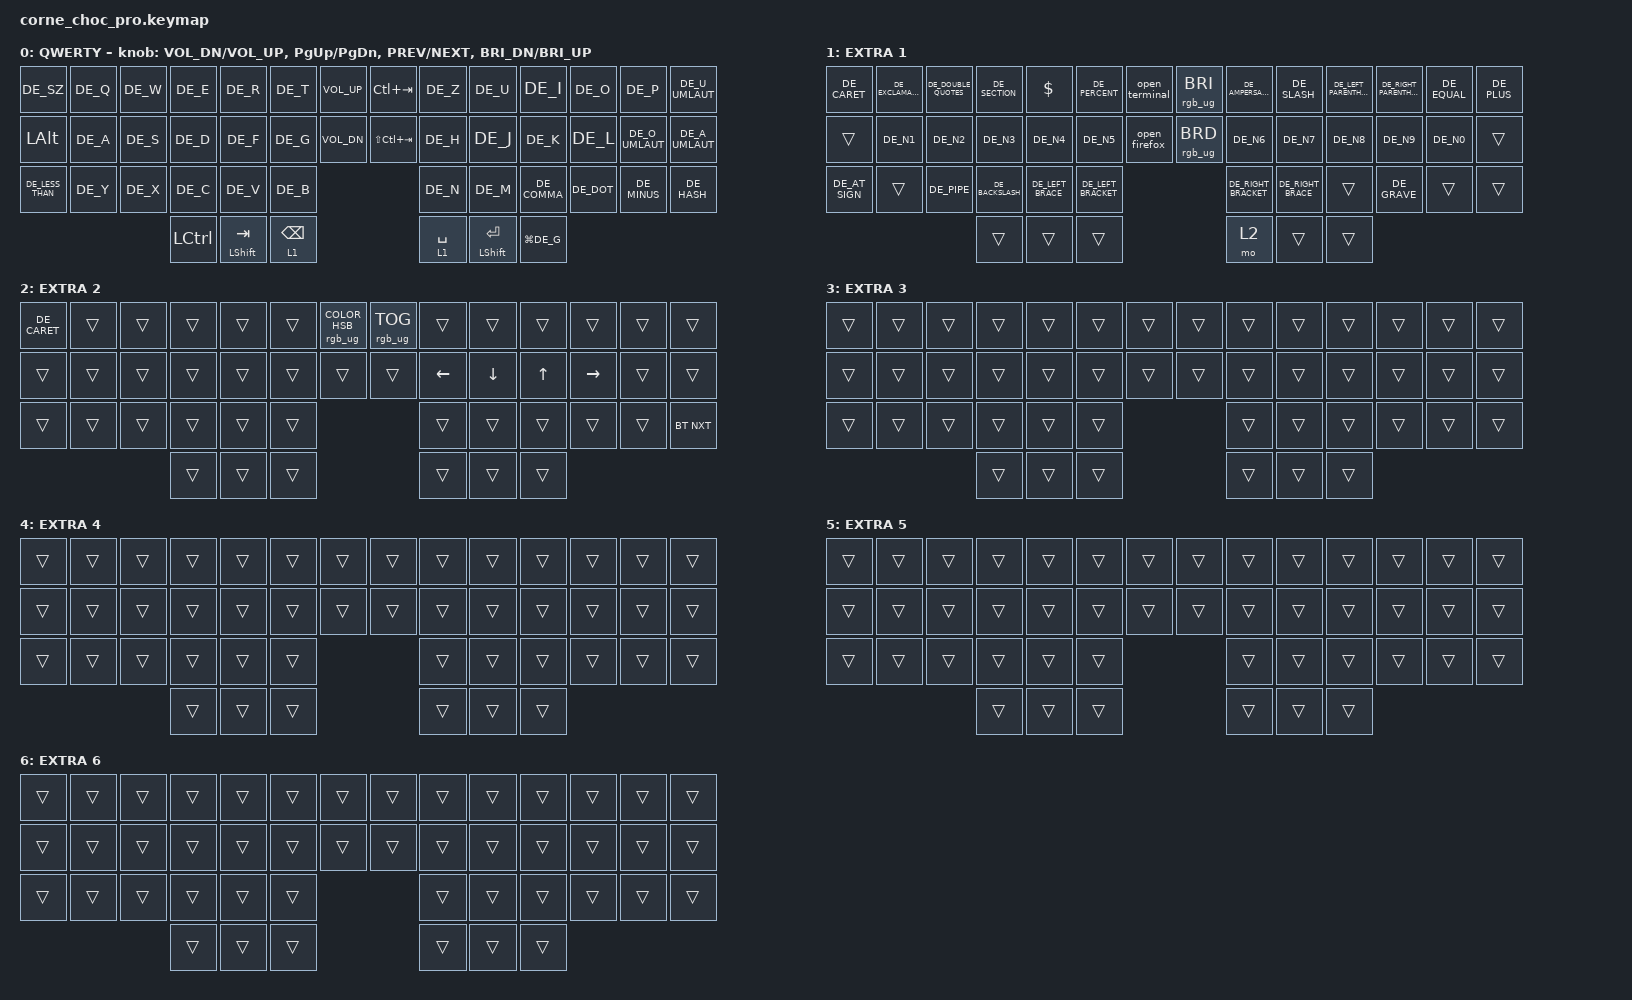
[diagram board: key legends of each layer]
/*
 * Copyright (c) 2020 The ZMK Contributors
 *
 * SPDX-License-Identifier: MIT
 */

#include <behaviors.dtsi>
#include <dt-bindings/zmk/bt.h>
#include <dt-bindings/zmk/keys.h>
#include <dt-bindings/zmk/rgb.h>
#include "keys_de.h"

/ {
    chosen { zmk,physical-layout = &default_layout; };
};

&lt { quick-tap-ms = <300>; };

/ {
    macros {
        open_terminal: open_terminal {
            compatible = "zmk,behavior-macro";
            #binding-cells = <0>;
            bindings = <&kp LA(SPACE) &kp G &kp H &kp O &kp S &kp T &kp T &kp Y &kp RET>;
            label = "OPEN_TERMINAL";
        };

        open_firefox: open_firefox {
            compatible = "zmk,behavior-macro";
            #binding-cells = <0>;
            bindings = <&kp LA(SPACE) &kp F &kp I &kp R &kp E &kp F &kp O &kp X &kp RET>;
            label = "OPEN_FIREFOX";
        };
    };

    keymap {
        compatible = "zmk,keymap";

        default_layer {
            display-name = "QWERTY";

            // --------------------------------------------------------------------------------
            // |  TAB |  Q  |  W  |  E  |  R  |  T  |  MUTE |  PP   |  Y  |  U   |  I  |  O  |  P  | BSPC |
            // | CTRL |  A  |  S  |  D  |  F  |  G  |  LALT |  RALT |  H  |  J   |  K  |  L  |  ;  |  '   |
            // | SHFT |  Z  |  X  |  C  |  V  |  B  |               |  N  |  M   |  ,  |  .  |  /  | ESC  |
            //                    | GUI | LWR | SPC |               | ENT | RSE  | ALT |

            bindings = <
&kp DE_SZ         &kp DE_Q  &kp DE_W  &kp DE_E          &kp DE_R            &kp DE_T         &kp C_VOLUME_UP  &kp LC(TAB)      &kp DE_Z     &kp DE_U              &kp DE_I      &kp DE_O    &kp DE_P         &kp DE_U_UMLAUT
&kp LEFT_ALT      &kp DE_A  &kp DE_S  &kp DE_D          &kp DE_F            &kp DE_G         &kp C_VOL_DN     &kp LS(LC(TAB))  &kp DE_H     &kp DE_J              &kp DE_K      &kp DE_L    &kp DE_O_UMLAUT  &kp DE_A_UMLAUT
&kp DE_LESS_THAN  &kp DE_Y  &kp DE_X  &kp DE_C          &kp DE_V            &kp DE_B                                           &kp DE_N     &kp DE_M              &kp DE_COMMA  &kp DE_DOT  &kp DE_MINUS     &kp DE_HASH
                                      &kp LEFT_CONTROL  &mt LEFT_SHIFT TAB  &lt 1 BACKSPACE                                    &lt 1 SPACE  &mt LEFT_SHIFT ENTER  &kp LG(DE_G)
            >;

            sensor-bindings = <&inc_dec_kp C_VOL_DN C_VOL_UP &inc_dec_kp PG_UP PG_DN &inc_dec_kp C_PREV C_NEXT &inc_dec_kp C_BRI_DN C_BRI_UP>;
        };

        extra_layer_1 {
            display-name = "EXTRA 1";
            bindings = <
&kp DE_CARET    &kp DE_EXCLAMATION  &kp DE_DOUBLE_QUOTES  &kp DE_SECTION    &kp DOLLAR         &kp DE_PERCENT       &open_terminal  &rgb_ug RGB_BRI  &kp DE_AMPERSAND      &kp DE_SLASH        &kp DE_LEFT_PARENTHESIS  &kp DE_RIGHT_PARENTHESIS  &kp DE_EQUAL  &kp DE_PLUS
&trans          &kp DE_N1           &kp DE_N2             &kp DE_N3         &kp DE_N4          &kp DE_N5            &open_firefox   &rgb_ug RGB_BRD  &kp DE_N6             &kp DE_N7           &kp DE_N8                &kp DE_N9                 &kp DE_N0     &trans
&kp DE_AT_SIGN  &trans              &kp DE_PIPE           &kp DE_BACKSLASH  &kp DE_LEFT_BRACE  &kp DE_LEFT_BRACKET                                   &kp DE_RIGHT_BRACKET  &kp DE_RIGHT_BRACE  &trans                   &kp DE_GRAVE              &trans        &trans
                                                          &trans            &trans             &trans                                             &mo 2                 &trans              &trans
            >;
        };

        extra_layer_2 {
            display-name = "EXTRA 2";
            bindings = <
&kp DE_CARET  &trans  &trans  &trans  &trans  &trans  &rgb_ug RGB_COLOR_HSB(242,100,57)  &rgb_ug RGB_TOG  &trans    &trans    &trans  &trans     &trans  &trans
&trans        &trans  &trans  &trans  &trans  &trans  &trans                             &trans           &kp LEFT  &kp DOWN  &kp UP  &kp RIGHT  &trans  &trans
&trans        &trans  &trans  &trans  &trans  &trans                                                      &trans    &trans    &trans  &trans     &trans  &bt BT_NXT
                              &trans  &trans  &trans                                                      &trans    &trans    &trans
            >;
        };

        extra_layer_3 {
            display-name = "EXTRA 3";
            bindings = <
&trans  &trans  &trans  &trans  &trans  &trans  &trans  &trans  &trans  &trans  &trans  &trans  &trans  &trans
&trans  &trans  &trans  &trans  &trans  &trans  &trans  &trans  &trans  &trans  &trans  &trans  &trans  &trans
&trans  &trans  &trans  &trans  &trans  &trans                  &trans  &trans  &trans  &trans  &trans  &trans
                        &trans  &trans  &trans                  &trans  &trans  &trans
            >;
        };

        extra_layer_4 {
            display-name = "EXTRA 4";
            bindings = <
&trans  &trans  &trans  &trans  &trans  &trans  &trans  &trans  &trans  &trans  &trans  &trans  &trans  &trans
&trans  &trans  &trans  &trans  &trans  &trans  &trans  &trans  &trans  &trans  &trans  &trans  &trans  &trans
&trans  &trans  &trans  &trans  &trans  &trans                  &trans  &trans  &trans  &trans  &trans  &trans
                        &trans  &trans  &trans                  &trans  &trans  &trans
            >;
        };

        extra_layer_5 {
            display-name = "EXTRA 5";
            bindings = <
&trans  &trans  &trans  &trans  &trans  &trans  &trans  &trans  &trans  &trans  &trans  &trans  &trans  &trans
&trans  &trans  &trans  &trans  &trans  &trans  &trans  &trans  &trans  &trans  &trans  &trans  &trans  &trans
&trans  &trans  &trans  &trans  &trans  &trans                  &trans  &trans  &trans  &trans  &trans  &trans
                        &trans  &trans  &trans                  &trans  &trans  &trans
            >;
        };

        extra_layer_6 {
            display-name = "EXTRA 6";
            bindings = <
&trans  &trans  &trans  &trans  &trans  &trans  &trans  &trans  &trans  &trans  &trans  &trans  &trans  &trans
&trans  &trans  &trans  &trans  &trans  &trans  &trans  &trans  &trans  &trans  &trans  &trans  &trans  &trans
&trans  &trans  &trans  &trans  &trans  &trans                  &trans  &trans  &trans  &trans  &trans  &trans
                        &trans  &trans  &trans                  &trans  &trans  &trans
            >;
        };
    };
};
